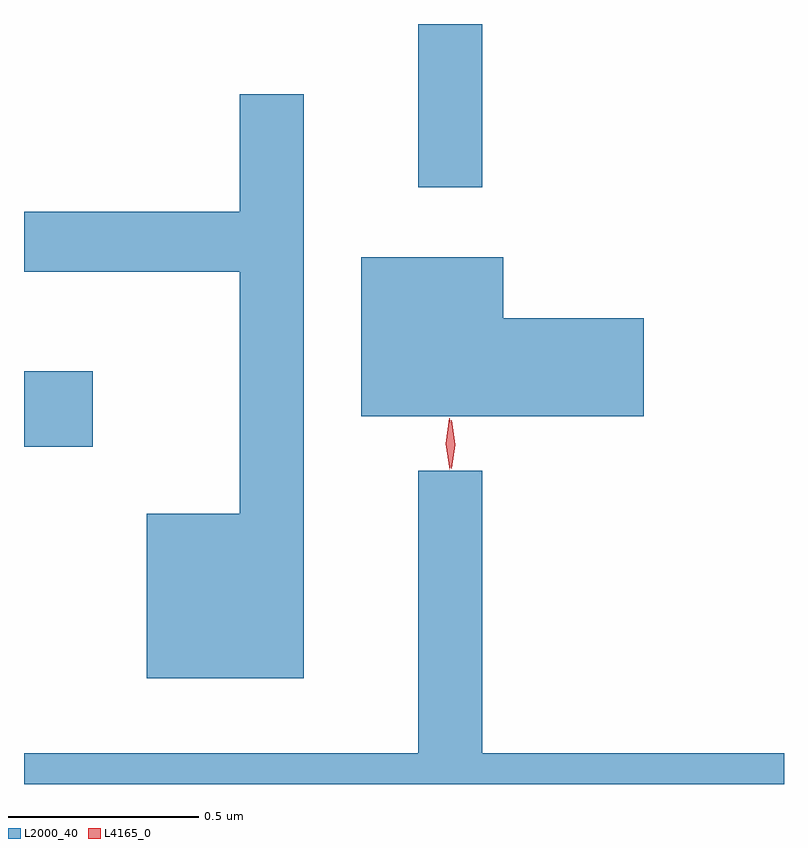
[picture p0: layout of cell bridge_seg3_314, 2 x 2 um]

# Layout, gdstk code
import gdstk
lib = gdstk.Library(unit=1e-6, precision=1e-09)
def R(c, l, rs):  # rectangles x0, y0, x1, y1
    for r in rs: c.add(gdstk.rectangle(r[:2], r[2:], *l))
def P(c, l, *ps):  # polygons
    for p in ps: c.add(gdstk.Polygon(p, *l))
L2000_40 = (2000, 40)
L4165_0 = (4165, 0)

bridge_seg3_314 = lib.new_cell('bridge_seg3_314')
R(bridge_seg3_314, L2000_40, [(595.333,1169.271,595.514,1169.469), (596.371,1169.953,596.539,1170.383)])
P(bridge_seg3_314, L2000_40, [(596.069,1170.198),(595.901,1170.198),(595.901,1169.889),(595.333,1169.889),(595.333,1169.731),(595.901,1169.731),(595.901,1169.094),(595.656,1169.094),(595.656,1168.661),(596.069,1168.661)],
  [(596.964,1169.609),(596.594,1169.609),(596.594,1169.769),(596.221,1169.769),(596.221,1169.351),(596.964,1169.351)],
  [(597.333,1168.464),(596.539,1168.464),(596.539,1169.208),(596.371,1169.208),(596.371,1168.464),(595.333,1168.464),(595.333,1168.383),(597.333,1168.383)])
P(bridge_seg3_314, L4165_0, [(596.453,1169.21),(596.453,1169.21),(596.443,1169.278),(596.452,1169.346),(596.452,1169.346),(596.453,1169.346),(596.463,1169.278),(596.454,1169.21)],
  [(596.458,1169.213),(596.457,1169.214),(596.448,1169.276),(596.457,1169.34),(596.458,1169.34),(596.458,1169.34),(596.468,1169.276),(596.458,1169.214)])

lib.write_gds('bridge_seg3_314.gds')
